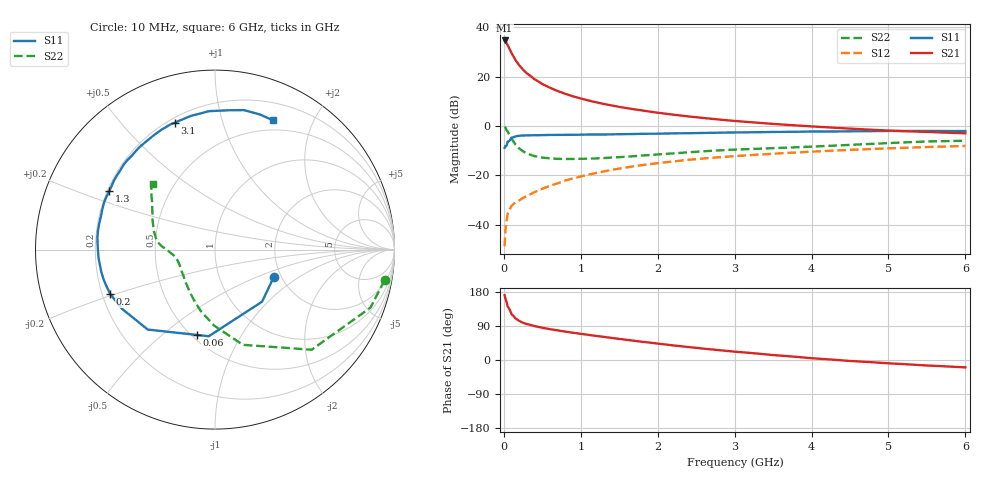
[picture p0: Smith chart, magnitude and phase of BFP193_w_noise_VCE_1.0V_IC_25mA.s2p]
! Infineon Technologies  Discrete & RF Semiconductors
! BFP193
! VCE =  1.0 V,  IC =  25 mA
! Common Emitter S-Parameters:  Jan 2017
# GHz  S  MA  R  50
!  f  S11  S21  S12  S22
! GHz  MAG  ANG  MAG  ANG  MAG  ANG  MAG  ANG
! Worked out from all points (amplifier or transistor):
!   77 points, 10 MHz to 6 GHz, reference 50 ohm
!   highest |S21| = 34.6 dB at 10 MHz (marker M1)
!   |S21| within 3 dB of that: start of sweep to 67.59 MHz
!   unconditionally stable (mu >= 1): 674.7 MHz to 2.779 GHz
!   at 130 MHz: K = 0.47, MSG = 29.7 dB, |S12| = -31.5 dB
!   at 2.2 GHz: K = 1.02, MAG = 8.5 dB, |S12| = -14.4 dB
!   at 6 GHz: K = 0.97, MSG = 2.5 dB, |S12| = -8.1 dB
!   lowest NFmin = 1.12 dB at 450 MHz
!   S11 on the Smith chart (normalised r, x): 10 MHz: 1.83, -0.64; 60 MHz: 0.53, -0.66; 200 MHz: 0.23, -0.19; 1.3 GHz: 0.21, +0.25; 3.1 GHz: 0.22, +0.71; 6 GHz: 0.38, +1.47
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0.01  0.3614 -24.9  53.74 171.1  0.0037 79.9  0.9604 -10.2
0.02  0.3911 -47.9  52.88 162.6  0.0076 81.1  0.9243 -20.5
0.05  0.484 -94.1  43.27 141.4  0.0166 61.1  0.7756 -46.0
0.06  0.4862 -102.2  40.26 138.4  0.0181 58.5  0.7202 -50.1
0.1  0.5822 -130.1  29.84 120.8  0.0242 51.5  0.5527 -73.7
0.15  0.6141 -147.5  21.73 110.0  0.0284 48.4  0.4233 -90.7
0.2  0.6345 -157.2  16.91 103.2  0.0311 49.9  0.3516 -103.0
0.25  0.6419 -164.1  13.75 98.2  0.0351 50.6  0.3066 -112.2
0.3  0.6456 -168.7  11.58 94.8  0.0381 52.8  0.2771 -120.1
0.4  0.6506 -175.8  8.806 89.3  0.046 55.3  0.2454 -131.6
0.5  0.6536 178.7  7.074 85.0  0.0537 58.1  0.2292 -140.0
0.6  0.6588 174.1  5.933 81.3  0.0618 59.3  0.2218 -146.8
0.7  0.6603 170.6  5.096 78.2  0.0694 60.4  0.2161 -151.9
0.8  0.6614 166.9  4.469 74.8  0.0789 60.9  0.2152 -155.8
1.1  0.6711 157.2  3.281 66.3  0.1035 59.9  0.218 -164.6
1.3  0.6734 151.1  2.791 61.0  0.1203 58.2  0.2244 -168.9
1.7  0.6881 140.0  2.168 50.6  0.1537 54.4  0.2457 -175.2
2.1  0.7029 129.4  1.775 41.0  0.1841 49.4  0.2721 179.7
3.1  0.7421 107.6  1.229 20.4  0.2512 36.7  0.3368 168.5
4.1  0.7724 90.9  0.96 3.4  0.3075 25.0  0.388 153.7
5.1  0.7927 77.0  0.797 -9.8  0.3569 13.5  0.4578 140.5
6  0.7896 65.9  0.71 -19.5  0.395 3.7  0.5027 133.6
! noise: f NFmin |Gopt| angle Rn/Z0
0.45  1.12  0.3  -176  0.36
0.9  1.19  0.37  -175  0.07
1.9  1.81  0.57  -138  0.16
2.4  2.15  0.62  -122  0.35
